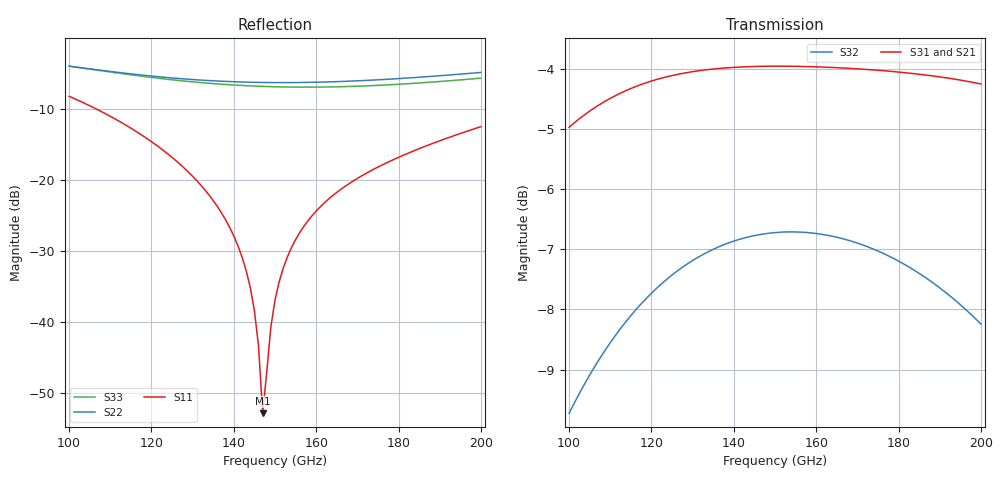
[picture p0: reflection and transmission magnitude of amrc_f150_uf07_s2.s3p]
! Created with skrf 2.1.0 (http://scikit-rf.org).
# GHz S DB R 50.0
! Port[1] = P1
! Port[2] = P2
! Port[3] = P3
!freq dBS11 angS11 dBS12 angS12 dBS13 angS13
! dBS21 angS21 dBS22 angS22 dBS23 angS23
! dBS31 angS31 dBS32 angS32 dBS33 angS33
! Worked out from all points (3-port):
!   101 points, 100 GHz to 200 GHz, reference 50 ohm
!   strongest paths, dB at 100 GHz, 125 GHz, 150 GHz, 175 GHz, 200 GHz:
!     S31: -5.0, -4.1, -4.0, -4.0, -4.3
!     S21: -4.7, -4.0, -4.0, -4.2, -4.6
!     S32: -9.7, -7.4, -6.7, -7.0, -8.2
!   lowest |S11| = -52.9 dB at 147 GHz (marker M1), VSWR 1.00, Z = 50.2 + j0.0825 ohm
!   |S11| at or under -10 dB: 106.6 GHz to end of sweep
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100  -8.20 129.8  -4.74 -10.4  -4.97 166.0
     -4.74 -10.4  -3.95 60.1  -9.73 91.1
     -4.97 166.0  -9.73 91.1  -3.95 50.5
123  -15.88 99.3  -4.03 -45.0  -4.15 129.5
     -4.03 -45.0  -5.51 40.1  -7.54 57.1
     -4.15 129.5  -7.54 57.1  -5.74 27.4
137  -24.63 84.8  -3.95 -63.8  -3.99 109.5
     -3.95 -63.8  -6.07 29.9  -6.94 38.3
     -3.99 109.5  -6.94 38.3  -6.49 15.9
144  -35.19 75.1  -3.95 -72.8  -3.96 100.0
     -3.95 -72.8  -6.21 24.9  -6.79 29.4
     -3.96 100.0  -6.79 29.4  -6.73 10.5
146  -43.42 63.5  -3.96 -75.3  -3.96 97.4
     -3.96 -75.3  -6.23 23.5  -6.76 26.9
     -3.96 97.4  -6.76 26.9  -6.78 9.0
147  -52.90 21.3  -3.96 -76.5  -3.96 96.1
     -3.96 -76.5  -6.24 22.8  -6.75 25.6
     -3.96 96.1  -6.75 25.6  -6.80 8.3
150  -36.95 -94.8  -3.98 -80.2  -3.96 92.1
     -3.98 -80.2  -6.26 20.7  -6.72 21.9
     -3.96 92.1  -6.72 21.9  -6.85 6.0
155  -28.40 -102.6  -4.00 -86.4  -3.96 85.7
     -4.00 -86.4  -6.25 17.1  -6.71 15.8
     -3.96 85.7  -6.71 15.8  -6.90 2.3
163  -22.70 -108.2  -4.07 -96.0  -3.98 75.5
     -4.07 -96.0  -6.16 11.1  -6.77 6.2
     -3.98 75.5  -6.77 6.2  -6.88 -3.7
200  -12.48 -129.6  -4.64 -140.4  -4.25 28.8
     -4.64 -140.4  -4.83 -20.3  -8.24 -37.2
     -4.25 28.8  -8.24 -37.2  -5.63 -34.5
